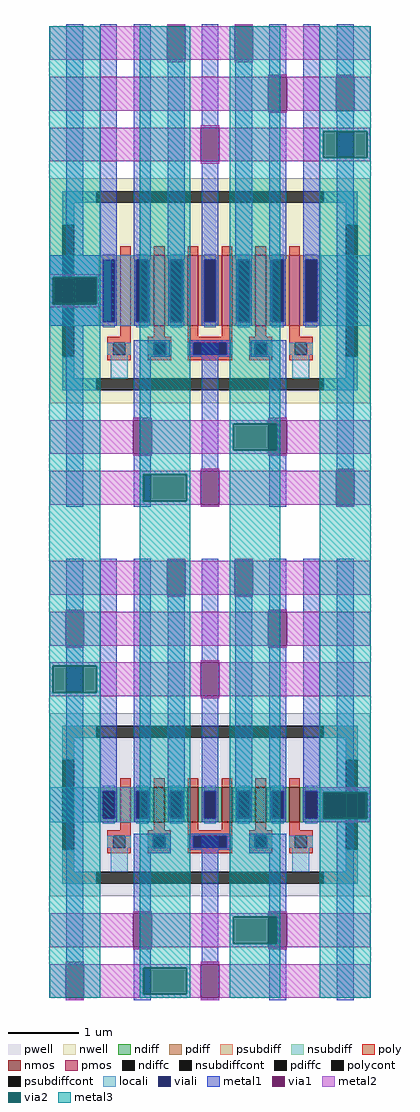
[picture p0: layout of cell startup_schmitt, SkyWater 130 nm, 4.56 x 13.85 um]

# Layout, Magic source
magic
tech sky130A
magscale 1 2
<< locali >>
rect -3890 1913 -3644 2113
rect -3130 1913 -2980 2113
rect -3717 1764 -3669 1866
rect -3201 1764 -3153 1866
rect -3890 504 -3644 604
rect -3130 590 -2980 604
rect -3130 514 -3055 590
rect -2995 514 -2980 590
rect -3130 504 -2980 514
rect -3717 364 -3669 466
rect -3201 364 -3153 466
<< viali >>
rect -3055 514 -2995 590
<< metal1 >>
rect -3843 2113 -3795 2770
rect -3747 2113 -3699 2770
rect -3890 2104 -3699 2113
rect -3651 2104 -3603 2770
rect -3557 2764 -3505 2770
rect -3557 2662 -3505 2668
rect -3555 2104 -3507 2662
rect -3459 2482 -3411 2770
rect -3365 2764 -3313 2770
rect -3365 2662 -3313 2668
rect -3461 2476 -3409 2482
rect -3461 2374 -3409 2380
rect -3459 2104 -3411 2374
rect -3363 2104 -3315 2662
rect -3267 2626 -3219 2770
rect -3269 2620 -3217 2626
rect -3269 2518 -3217 2524
rect -3267 2104 -3219 2518
rect -3171 2104 -3123 2770
rect -3075 2626 -3027 2770
rect -3077 2620 -3025 2626
rect -3077 2518 -3025 2524
rect -3890 2060 -3714 2104
rect -3891 2051 -3714 2060
rect -3891 1975 -3881 2051
rect -3757 1975 -3714 2051
rect -3891 1966 -3714 1975
rect -3890 1913 -3714 1966
rect -3843 1400 -3795 1913
rect -3651 1652 -3603 1872
rect -3653 1646 -3601 1652
rect -3653 1544 -3601 1550
rect -3651 1400 -3603 1544
rect -3459 1508 -3411 1872
rect -3267 1652 -3219 1872
rect -3269 1646 -3217 1652
rect -3269 1544 -3217 1550
rect -3461 1502 -3409 1508
rect -3461 1400 -3409 1406
rect -3267 1400 -3219 1544
rect -3075 1508 -3027 2518
rect -3077 1502 -3025 1508
rect -3077 1400 -3025 1406
rect -3843 1108 -3795 1252
rect -3845 1102 -3793 1108
rect -3845 1000 -3793 1006
rect -3843 108 -3795 1000
rect -3747 604 -3699 1252
rect -3651 604 -3603 1252
rect -3557 1246 -3505 1252
rect -3557 1144 -3505 1150
rect -3555 604 -3507 1144
rect -3459 964 -3411 1252
rect -3365 1246 -3313 1252
rect -3365 1144 -3313 1150
rect -3461 958 -3409 964
rect -3461 856 -3409 862
rect -3459 604 -3411 856
rect -3363 604 -3315 1144
rect -3267 1108 -3219 1252
rect -3269 1102 -3217 1108
rect -3269 1000 -3217 1006
rect -3267 604 -3219 1000
rect -3171 604 -3123 1252
rect -3075 604 -3027 1252
rect -3125 590 -2980 604
rect -3125 514 -3113 590
rect -2990 514 -2980 590
rect -3125 504 -2980 514
rect -3651 252 -3603 472
rect -3653 246 -3601 252
rect -3653 144 -3601 150
rect -3845 102 -3793 108
rect -3845 0 -3793 6
rect -3651 0 -3603 144
rect -3459 108 -3411 472
rect -3267 252 -3219 472
rect -3269 246 -3217 252
rect -3269 144 -3217 150
rect -3461 102 -3409 108
rect -3461 0 -3409 6
rect -3267 0 -3219 144
rect -3075 0 -3027 504
<< via1 >>
rect -3557 2668 -3505 2764
rect -3365 2668 -3313 2764
rect -3461 2380 -3409 2476
rect -3269 2524 -3217 2620
rect -3077 2524 -3025 2620
rect -3881 1975 -3757 2051
rect -3653 1550 -3601 1646
rect -3269 1550 -3217 1646
rect -3461 1406 -3409 1502
rect -3077 1406 -3025 1502
rect -3845 1006 -3793 1102
rect -3557 1150 -3505 1246
rect -3365 1150 -3313 1246
rect -3461 862 -3409 958
rect -3269 1006 -3217 1102
rect -3113 514 -3055 590
rect -3055 514 -2995 590
rect -2995 514 -2990 590
rect -3653 150 -3601 246
rect -3845 6 -3793 102
rect -3269 150 -3217 246
rect -3461 6 -3409 102
<< metal2 >>
rect -3557 2764 -3505 2770
rect -3365 2764 -3313 2770
rect -3890 2668 -3557 2764
rect -3505 2668 -3365 2764
rect -3313 2668 -2980 2764
rect -3557 2662 -3505 2668
rect -3365 2662 -3313 2668
rect -3269 2620 -3217 2626
rect -3077 2620 -3025 2626
rect -3890 2524 -3269 2620
rect -3217 2524 -3077 2620
rect -3025 2524 -2980 2620
rect -3269 2518 -3217 2524
rect -3461 2476 -3409 2482
rect -3890 2380 -3461 2476
rect -3409 2466 -2981 2476
rect -3409 2390 -3113 2466
rect -2989 2452 -2981 2466
rect -2989 2390 -2980 2452
rect -3409 2380 -2980 2390
rect -3461 2374 -3409 2380
rect -3891 2051 -3747 2060
rect -3891 1975 -3881 2051
rect -3757 1975 -3747 2051
rect -3891 1966 -3747 1975
rect -3653 1646 -3601 1652
rect -3269 1646 -3217 1652
rect -3890 1550 -3653 1646
rect -3601 1636 -3269 1646
rect -3601 1560 -3369 1636
rect -3601 1550 -3269 1560
rect -3217 1550 -2980 1646
rect -3653 1544 -3601 1550
rect -3269 1544 -3217 1550
rect -3461 1502 -3409 1508
rect -3077 1502 -3025 1508
rect -3890 1492 -3461 1502
rect -3890 1416 -3625 1492
rect -3501 1416 -3461 1492
rect -3890 1406 -3461 1416
rect -3409 1406 -3077 1502
rect -3025 1406 -2980 1502
rect -3461 1400 -3409 1406
rect -3077 1400 -3025 1406
rect -3557 1246 -3505 1252
rect -3365 1246 -3313 1252
rect -3890 1150 -3557 1246
rect -3505 1150 -3365 1246
rect -3313 1150 -2980 1246
rect -3557 1144 -3505 1150
rect -3365 1144 -3313 1150
rect -3845 1102 -3793 1108
rect -3269 1102 -3217 1108
rect -3890 1006 -3845 1102
rect -3793 1006 -3269 1102
rect -3217 1006 -2980 1102
rect -3845 1000 -3793 1006
rect -3269 1000 -3217 1006
rect -3461 958 -3409 964
rect -3890 948 -3461 958
rect -3890 872 -3881 948
rect -3757 872 -3461 948
rect -3890 862 -3461 872
rect -3409 862 -2980 958
rect -3461 856 -3409 862
rect -3123 590 -2980 604
rect -3123 514 -3113 590
rect -2989 514 -2980 590
rect -3123 504 -2980 514
rect -3653 246 -3601 252
rect -3269 246 -3217 252
rect -3890 150 -3653 246
rect -3601 236 -3269 246
rect -3601 160 -3369 236
rect -3601 150 -3269 160
rect -3217 150 -2980 246
rect -3653 144 -3601 150
rect -3269 144 -3217 150
rect -3845 102 -3793 108
rect -3461 102 -3409 108
rect -3890 6 -3845 102
rect -3793 92 -3461 102
rect -3793 16 -3625 92
rect -3501 16 -3461 92
rect -3793 6 -3461 16
rect -3409 6 -2980 102
rect -3845 0 -3793 6
rect -3461 0 -3409 6
<< via2 >>
rect -3113 2390 -2989 2466
rect -3881 1975 -3757 2051
rect -3369 1560 -3269 1636
rect -3269 1560 -3245 1636
rect -3625 1416 -3501 1492
rect -3881 872 -3757 948
rect -3113 514 -2990 590
rect -2990 514 -2989 590
rect -3369 160 -3269 236
rect -3269 160 -3245 236
rect -3625 16 -3501 92
<< metal3 >>
rect -3891 2051 -3747 2764
rect -3891 1975 -3881 2051
rect -3757 1975 -3747 2051
rect -3891 948 -3747 1975
rect -3891 872 -3881 948
rect -3757 872 -3747 948
rect -3891 6 -3747 872
rect -3635 1492 -3491 2764
rect -3635 1416 -3625 1492
rect -3501 1416 -3491 1492
rect -3635 92 -3491 1416
rect -3635 16 -3625 92
rect -3501 16 -3491 92
rect -3635 6 -3491 16
rect -3379 1636 -3235 2764
rect -3379 1560 -3369 1636
rect -3245 1560 -3235 1636
rect -3379 236 -3235 1560
rect -3379 160 -3369 236
rect -3245 160 -3235 236
rect -3379 6 -3235 160
rect -3123 2466 -2979 2764
rect -3123 2390 -3113 2466
rect -2989 2390 -2979 2466
rect -3123 590 -2979 2390
rect -3123 514 -3113 590
rect -2989 514 -2979 590
rect -3123 6 -2979 514
use sky130_fd_pr__nfet_01v8_QWA63T  sky130_fd_pr__nfet_01v8_QWA63T_1
transform 1 0 -3435 0 1 554
box -455 -260 455 260
use sky130_fd_pr__pfet_01v8_UAU7GH  sky130_fd_pr__pfet_01v8_UAU7GH_1
transform 1 0 -3435 0 1 2013
box -455 -319 455 319
<< end >>

# cell sky130_fd_pr__nfet_01v8_QWA63T: kit device sky130_fd_pr__nfet_01v8, w 0.5 l 0.150 m 1 nf 6 diffcov 100 polycov 100 guard 1 glc 1 grc 1 gtc 1 gbc 1 tbcov 100 rlcov 100 topc 1 botc 1 poverlap 0 doverlap 1 lmin 0.15 wmin 0.42 compatible {sky130_fd_pr__nfet_01v8 sky130_fd_pr__nfet_01v8_lvt sky130_fd_bs_flash__special_sonosfet_star sky130_fd_pr__nfet_g5v0d10v5 sky130_fd_pr__nfet_05v0_nvt sky130_fd_pr__nfet_03v3_nvt} full_metal 1 viasrc 100 viadrn 100 viagate 100 viagb 0 viagr 0 viagl 0 viagt 0

# cell sky130_fd_pr__pfet_01v8_UAU7GH: kit device sky130_fd_pr__pfet_01v8, w 1 l 0.15 m 1 nf 6 diffcov 100 polycov 100 guard 1 glc 1 grc 1 gtc 1 gbc 1 tbcov 100 rlcov 100 topc 1 botc 1 poverlap 0 doverlap 1 lmin 0.15 wmin 0.42 compatible {sky130_fd_pr__pfet_01v8 sky130_fd_pr__pfet_01v8_lvt sky130_fd_pr__pfet_01v8_hvt sky130_fd_pr__pfet_g5v0d10v5} full_metal 1 viasrc 100 viadrn 100 viagate 100 viagb 0 viagr 0 viagl 0 viagt 0
